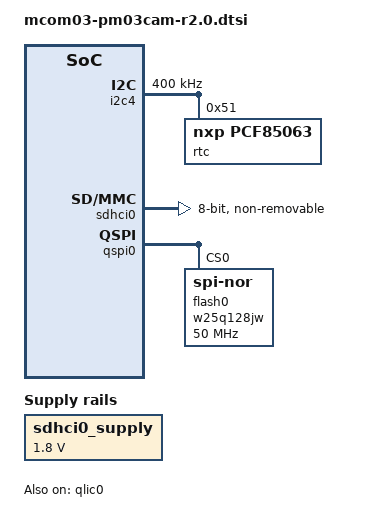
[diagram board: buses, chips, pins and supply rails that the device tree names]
// SPDX-License-Identifier: GPL-2.0+
/*
 * Copyright 2023 RnD Center "ELVEES", JSC
 */

/dts-v1/;

#include <dt-bindings/gpio/gpio.h>

#include "mcom03.dtsi"

/ {
	chosen {
		stdout-path = "serial0:115200n8";
	};

	/delete-node/ sdr-bus;

	sdhci0_supply: regulator@0 {
		compatible = "regulator-fixed";
		regulator-name = "sdhci0-supply";
		regulator-min-microvolt = <1800000>;
		regulator-max-microvolt = <1800000>;
		regulator-always-on;
	};
};

&hsperiph_pinctrl {
	pinctrl-0 = <&hsperiph_misc_default &emac_v18>;
};

&qlic0 {
	status = "okay";
};

&i2c4 {
	clock-frequency = <400000>;
	status = "okay";

	rtc@51 {
		compatible = "nxp,pcf85063";
		reg = <0x51>;
	};
};

&sdhci0 {
	status = "okay";

	non-removable;
	bus-width = <8>;

	vqmmc-supply = <&sdhci0_supply>;
};

&qspi0 {
	status = "okay";

	flash0: w25q128jw@0 {
		#address-cells = <1>;
		#size-cells = <1>;
		compatible = "jedec,spi-nor", "winbond,w25q128";
		reg = <0x0>;
		/* This is the highest frequency at which all commands are
		 * supported by the flash device.
		 */
		spi-max-frequency = <50000000>;
	};
};
